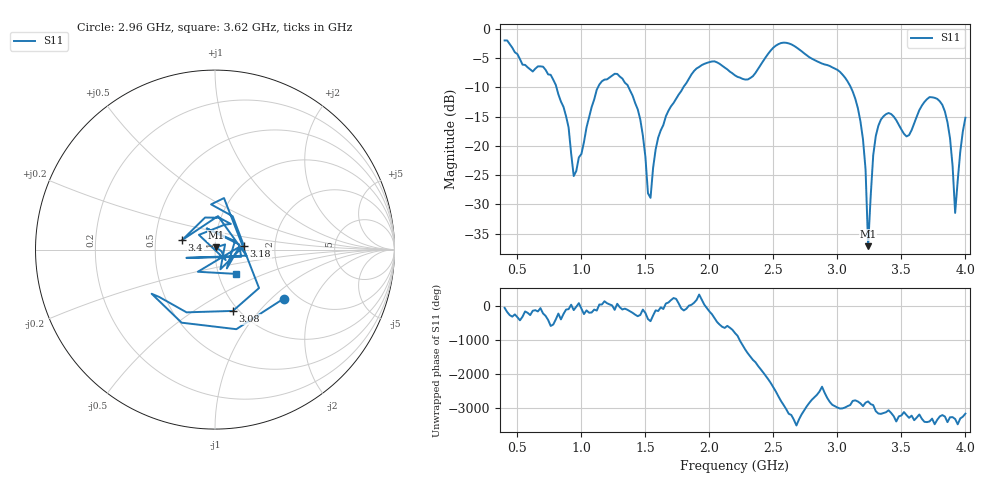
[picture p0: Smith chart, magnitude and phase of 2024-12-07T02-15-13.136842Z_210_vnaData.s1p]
!Created with skrf (http://scikit-rf.org).
# Hz S RI R 50.0
!freq ReS11 ImS11
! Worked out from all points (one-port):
!   181 points, 400 MHz to 4 GHz, reference 50 ohm
!   lowest |S11| = -37.2 dB at 3.24 GHz (marker M1), VSWR 1.03, Z = 50.6 + j1.26 ohm
!   |S11| at or under -10 dB: 805.4 MHz to 1.129 GHz (323.2 MHz wide, 33.4 % of centre); 1.369 GHz to 1.796 GHz (426.6 MHz wide, 27 % of centre); 3.105 GHz to end of sweep
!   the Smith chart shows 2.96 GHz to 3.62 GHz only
!   S11 on the Smith chart (normalised r, x): 2.96 GHz: 1.71, -1.20; 3.08 GHz: 0.94, -0.74; 3.18 GHz: 1.38, +0.06; 3.4 GHz: 0.69, +0.07; 3.62 GHz: 1.21, -0.34
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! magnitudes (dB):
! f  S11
! 400 MHz  -2.0
! 760 MHz  -7.8
! 860 MHz  -13.3
! 940 MHz  -25.2
! 1.12 GHz  -10.4
! 1.3 GHz  -8.1
! 1.44 GHz  -13.7
! 1.54 GHz  -28.9
! 1.6 GHz  -18.6
! 1.76 GHz  -11.2
! 1.98 GHz  -5.8
! 2.2 GHz  -7.9
! 2.66 GHz  -2.9
! 2.96 GHz  -6.6
! 3.08 GHz  -9.0
! 3.1 GHz  -9.7
! 3.18 GHz  -15.8
! 3.22 GHz  -24.0
! 3.24 GHz  -37.2
! 3.28 GHz  -21.6
! 3.3 GHz  -18.3
! 3.4 GHz  -14.4
! 3.56 GHz  -18.1
! 3.62 GHz  -15.0
! 3.82 GHz  -13.0
! 3.88 GHz  -18.7
! 3.92 GHz  -31.5
! 4 GHz  -15.2
